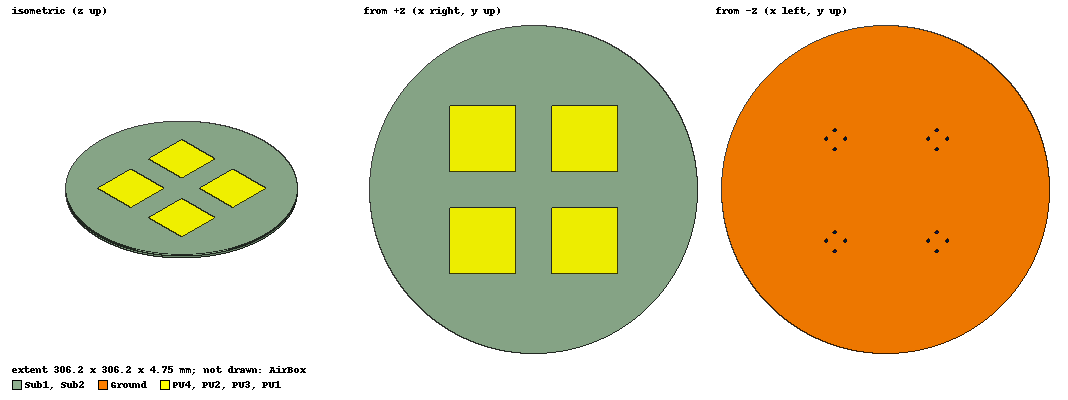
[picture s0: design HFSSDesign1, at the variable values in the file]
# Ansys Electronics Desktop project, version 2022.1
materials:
  vacuum: permittivity=1
  crpa_rt5880_2p2: permittivity=2.2 dielectric_loss_tangent=0.0009
  pec: conductivity=1e+30

design HFSSDesign1 (HFSS, DrivenModal, model units mm)
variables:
  h1 = 3.175mm
  h2 = 1.575mm
  Lalt = 77.89mm
  palt = 9.9485mm
  Lust = 62.361mm
  pust = 8.0296mm
  ra = 0.635mm
  rb = 2.3*ra
  rh = ra+1mm
  dsp = 95.1468mm
  rr = dsp/sqrt(2)
  gm = 30.5mm
  Rg = rr+0.71*Lalt+gm
  pad = 61mm
  X1 = rr*cos(45deg)
  Y1 = rr*sin(45deg)
  X2 = rr*cos(135deg)
  Y2 = rr*sin(135deg)
  X3 = rr*cos(225deg)
  Y3 = rr*sin(225deg)
  X4 = rr*cos(315deg)
  Y4 = rr*sin(315deg)
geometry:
  Ground = circle(normal=Z, centre=(0mm, 0mm, 0mm), radius=Rg)
  Sub1 [crpa_rt5880_2p2] = cylinder(axis=Z, base_centre=(0mm, 0mm, 0mm), radius=Rg, height=h1)
  Sub2 [crpa_rt5880_2p2] = cylinder(axis=Z, base_centre=(0mm, 0mm, h1), radius=Rg, height=h2)
  PA1 = rectangle(corner=(X1-Lalt/2, Y1-Lalt/2, h1), x_size=Lalt, y_size=Lalt)
  PA2 = rectangle(corner=(X2-Lalt/2, Y2-Lalt/2, h1), x_size=Lalt, y_size=Lalt)
  PA3 = rectangle(corner=(X3-Lalt/2, Y3-Lalt/2, h1), x_size=Lalt, y_size=Lalt)
  PA4 = rectangle(corner=(X4-Lalt/2, Y4-Lalt/2, h1), x_size=Lalt, y_size=Lalt)
  PU1 = rectangle(corner=(X1-Lust/2, Y1-Lust/2, h1+h2), x_size=Lust, y_size=Lust)
  PU2 = rectangle(corner=(X2-Lust/2, Y2-Lust/2, h1+h2), x_size=Lust, y_size=Lust)
  PU3 = rectangle(corner=(X3-Lust/2, Y3-Lust/2, h1+h2), x_size=Lust, y_size=Lust)
  PU4 = rectangle(corner=(X4-Lust/2, Y4-Lust/2, h1+h2), x_size=Lust, y_size=Lust)
  Pin_P1Ax [pec] = cylinder(axis=Z, base_centre=(X1-palt, Y1, 0mm), radius=ra, height=h1)
  Pin_P1Ay [pec] = cylinder(axis=Z, base_centre=(X1, Y1-palt, 0mm), radius=ra, height=h1)
  Pin_P1Ux [pec] = cylinder(axis=Z, base_centre=(X1+pust, Y1, 0mm), radius=ra, height=h1+h2)
  Pin_P1Uy [pec] = cylinder(axis=Z, base_centre=(X1, Y1+pust, 0mm), radius=ra, height=h1+h2)
  Pin_P2Ax [pec] = cylinder(axis=Z, base_centre=(X2-palt, Y2, 0mm), radius=ra, height=h1)
  Pin_P2Ay [pec] = cylinder(axis=Z, base_centre=(X2, Y2-palt, 0mm), radius=ra, height=h1)
  Pin_P2Ux [pec] = cylinder(axis=Z, base_centre=(X2+pust, Y2, 0mm), radius=ra, height=h1+h2)
  Pin_P2Uy [pec] = cylinder(axis=Z, base_centre=(X2, Y2+pust, 0mm), radius=ra, height=h1+h2)
  Pin_P3Ax [pec] = cylinder(axis=Z, base_centre=(X3-palt, Y3, 0mm), radius=ra, height=h1)
  Pin_P3Ay [pec] = cylinder(axis=Z, base_centre=(X3, Y3-palt, 0mm), radius=ra, height=h1)
  Pin_P3Ux [pec] = cylinder(axis=Z, base_centre=(X3+pust, Y3, 0mm), radius=ra, height=h1+h2)
  Pin_P3Uy [pec] = cylinder(axis=Z, base_centre=(X3, Y3+pust, 0mm), radius=ra, height=h1+h2)
  Pin_P4Ax [pec] = cylinder(axis=Z, base_centre=(X4-palt, Y4, 0mm), radius=ra, height=h1)
  Pin_P4Ay [pec] = cylinder(axis=Z, base_centre=(X4, Y4-palt, 0mm), radius=ra, height=h1)
  Pin_P4Ux [pec] = cylinder(axis=Z, base_centre=(X4+pust, Y4, 0mm), radius=ra, height=h1+h2)
  Pin_P4Uy [pec] = cylinder(axis=Z, base_centre=(X4, Y4+pust, 0mm), radius=ra, height=h1+h2)
  Ring_P1Ax = circle(normal=Z, centre=(X1-palt, Y1, 0mm), radius=rb)
  Cut_P1Ax = circle(normal=Z, centre=(X1-palt, Y1, 0mm), radius=ra)
  Ring_P1Ay = circle(normal=Z, centre=(X1, Y1-palt, 0mm), radius=rb)
  Cut_P1Ay = circle(normal=Z, centre=(X1, Y1-palt, 0mm), radius=ra)
  Ring_P1Ux = circle(normal=Z, centre=(X1+pust, Y1, 0mm), radius=rb)
  Cut_P1Ux = circle(normal=Z, centre=(X1+pust, Y1, 0mm), radius=ra)
  Ring_P1Uy = circle(normal=Z, centre=(X1, Y1+pust, 0mm), radius=rb)
  Cut_P1Uy = circle(normal=Z, centre=(X1, Y1+pust, 0mm), radius=ra)
  Ring_P2Ax = circle(normal=Z, centre=(X2-palt, Y2, 0mm), radius=rb)
  Cut_P2Ax = circle(normal=Z, centre=(X2-palt, Y2, 0mm), radius=ra)
  Ring_P2Ay = circle(normal=Z, centre=(X2, Y2-palt, 0mm), radius=rb)
  Cut_P2Ay = circle(normal=Z, centre=(X2, Y2-palt, 0mm), radius=ra)
  Ring_P2Ux = circle(normal=Z, centre=(X2+pust, Y2, 0mm), radius=rb)
  Cut_P2Ux = circle(normal=Z, centre=(X2+pust, Y2, 0mm), radius=ra)
  Ring_P2Uy = circle(normal=Z, centre=(X2, Y2+pust, 0mm), radius=rb)
  Cut_P2Uy = circle(normal=Z, centre=(X2, Y2+pust, 0mm), radius=ra)
  Ring_P3Ax = circle(normal=Z, centre=(X3-palt, Y3, 0mm), radius=rb)
  Cut_P3Ax = circle(normal=Z, centre=(X3-palt, Y3, 0mm), radius=ra)
  Ring_P3Ay = circle(normal=Z, centre=(X3, Y3-palt, 0mm), radius=rb)
  Cut_P3Ay = circle(normal=Z, centre=(X3, Y3-palt, 0mm), radius=ra)
  Ring_P3Ux = circle(normal=Z, centre=(X3+pust, Y3, 0mm), radius=rb)
  Cut_P3Ux = circle(normal=Z, centre=(X3+pust, Y3, 0mm), radius=ra)
  Ring_P3Uy = circle(normal=Z, centre=(X3, Y3+pust, 0mm), radius=rb)
  Cut_P3Uy = circle(normal=Z, centre=(X3, Y3+pust, 0mm), radius=ra)
  Ring_P4Ax = circle(normal=Z, centre=(X4-palt, Y4, 0mm), radius=rb)
  Cut_P4Ax = circle(normal=Z, centre=(X4-palt, Y4, 0mm), radius=ra)
  Ring_P4Ay = circle(normal=Z, centre=(X4, Y4-palt, 0mm), radius=rb)
  Ring_P4Ux = circle(normal=Z, centre=(X4+pust, Y4, 0mm), radius=rb)
  Cut_P4Ux = circle(normal=Z, centre=(X4+pust, Y4, 0mm), radius=ra)
  Ring_P4Uy = circle(normal=Z, centre=(X4, Y4+pust, 0mm), radius=rb)
  Cut_P4Uy = circle(normal=Z, centre=(X4, Y4+pust, 0mm), radius=ra)
  Cut_P4Ay = circle(normal=Z, centre=(X4, Y4-palt, 0mm), radius=ra)
  Hole_P1Ux = circle(normal=Z, centre=(X1+pust, Y1, h1), radius=rh)
  Hole_P1Uy = circle(normal=Z, centre=(X1, Y1+pust, h1), radius=rh)
  Hole_P2Ux = circle(normal=Z, centre=(X2+pust, Y2, h1), radius=rh)
  Hole_P2Uy = circle(normal=Z, centre=(X2, Y2+pust, h1), radius=rh)
  Hole_P3Ux = circle(normal=Z, centre=(X3+pust, Y3, h1), radius=rh)
  Hole_P3Uy = circle(normal=Z, centre=(X3, Y3+pust, h1), radius=rh)
  Hole_P4Ux = circle(normal=Z, centre=(X4+pust, Y4, h1), radius=rh)
  Hole_P4Uy = circle(normal=Z, centre=(X4, Y4+pust, h1), radius=rh)
  PA1.subtract(Hole_P1Ux, Hole_P1Uy)
  PA2.subtract(Hole_P2Ux, Hole_P2Uy)
  PA3.subtract(Hole_P3Ux, Hole_P3Uy)
  PA4.subtract(Hole_P4Ux, Hole_P4Uy)
  Ring_P1Ax_1 = Ring_P1Ax.copy()
  Ring_P1Ay_1 = Ring_P1Ay.copy()
  Ring_P1Ux_1 = Ring_P1Ux.copy()
  Ring_P1Uy_1 = Ring_P1Uy.copy()
  Ring_P2Ax_1 = Ring_P2Ax.copy()
  Ring_P2Ay_1 = Ring_P2Ay.copy()
  Ring_P2Ux_1 = Ring_P2Ux.copy()
  Ring_P2Uy_1 = Ring_P2Uy.copy()
  Ring_P3Ax_1 = Ring_P3Ax.copy()
  Ring_P3Ay_1 = Ring_P3Ay.copy()
  Ring_P3Ux_1 = Ring_P3Ux.copy()
  Ring_P3Uy_1 = Ring_P3Uy.copy()
  Ring_P4Ax_1 = Ring_P4Ax.copy()
  Ring_P4Ay_1 = Ring_P4Ay.copy()
  Ring_P4Ux_1 = Ring_P4Ux.copy()
  Ring_P4Uy_1 = Ring_P4Uy.copy()
  Ground.subtract(Ring_P1Ax_1, Ring_P1Ay_1, Ring_P1Ux_1, Ring_P1Uy_1, Ring_P2Ax_1, Ring_P2Ay_1, Ring_P2Ux_1, Ring_P2Uy_1, Ring_P3Ax_1, Ring_P3Ay_1, Ring_P3Ux_1, Ring_P3Uy_1, Ring_P4Ax_1, Ring_P4Ay_1, Ring_P4Ux_1, Ring_P4Uy_1)
  Ring_P1Ax.subtract(Cut_P1Ax)
  Ring_P1Ay.subtract(Cut_P1Ay)
  Ring_P1Ux.subtract(Cut_P1Ux)
  Ring_P1Uy.subtract(Cut_P1Uy)
  Ring_P2Ax.subtract(Cut_P2Ax)
  Ring_P2Ay.subtract(Cut_P2Ay)
  Ring_P2Ux.subtract(Cut_P2Ux)
  Ring_P2Uy.subtract(Cut_P2Uy)
  Ring_P3Ax.subtract(Cut_P3Ax)
  Ring_P3Ay.subtract(Cut_P3Ay)
  Ring_P3Ux.subtract(Cut_P3Ux)
  Ring_P3Uy.subtract(Cut_P3Uy)
  Ring_P4Ax.subtract(Cut_P4Ax)
  Ring_P4Ay.subtract(Cut_P4Ay)
  Ring_P4Ux.subtract(Cut_P4Ux)
  Ring_P4Uy.subtract(Cut_P4Uy)
  Pin_P1Ax_1 = Pin_P1Ax.copy()
  Pin_P1Ay_1 = Pin_P1Ay.copy()
  Pin_P1Ux_1 = Pin_P1Ux.copy()
  Pin_P1Uy_1 = Pin_P1Uy.copy()
  Pin_P2Ax_1 = Pin_P2Ax.copy()
  Pin_P2Ay_1 = Pin_P2Ay.copy()
  Pin_P2Ux_1 = Pin_P2Ux.copy()
  Pin_P2Uy_1 = Pin_P2Uy.copy()
  Pin_P3Ax_1 = Pin_P3Ax.copy()
  Pin_P3Ay_1 = Pin_P3Ay.copy()
  Pin_P3Ux_1 = Pin_P3Ux.copy()
  Pin_P3Uy_1 = Pin_P3Uy.copy()
  Pin_P4Ax_1 = Pin_P4Ax.copy()
  Pin_P4Ay_1 = Pin_P4Ay.copy()
  Pin_P4Ux_1 = Pin_P4Ux.copy()
  Pin_P4Uy_1 = Pin_P4Uy.copy()
  Sub1.subtract(Pin_P1Ax_1, Pin_P1Ay_1, Pin_P1Ux_1, Pin_P1Uy_1, Pin_P2Ax_1, Pin_P2Ay_1, Pin_P2Ux_1, Pin_P2Uy_1, Pin_P3Ax_1, Pin_P3Ay_1, Pin_P3Ux_1, Pin_P3Uy_1, Pin_P4Ax_1, Pin_P4Ay_1, Pin_P4Ux_1, Pin_P4Uy_1)
  Pin_P1Ux_2 = Pin_P1Ux.copy()
  Pin_P1Uy_2 = Pin_P1Uy.copy()
  Pin_P2Ux_2 = Pin_P2Ux.copy()
  Pin_P2Uy_2 = Pin_P2Uy.copy()
  Pin_P3Ux_2 = Pin_P3Ux.copy()
  Pin_P3Uy_2 = Pin_P3Uy.copy()
  Pin_P4Ux_2 = Pin_P4Ux.copy()
  Pin_P4Uy_2 = Pin_P4Uy.copy()
  Sub2.subtract(Pin_P1Ux_2, Pin_P1Uy_2, Pin_P2Ux_2, Pin_P2Uy_2, Pin_P3Ux_2, Pin_P3Uy_2, Pin_P4Ux_2, Pin_P4Uy_2)
  AirBox [vacuum] = box(corner=(-Rg-pad, -Rg-pad, -pad), size=(2*Rg+2*pad, 2*Rg+2*pad, h1+h2+2*pad))
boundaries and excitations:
  Rad1: Radiation Objects=AirBox
  PerfE1: Perfect E Objects=[Ground, PA1..PA4, PU1..PU4]
  P1Ax: Lumped Port Objects=Ring_P1Ax Modes{Mode1{IntLine{(39.0854, 47.5734, 0) -> (38.2599, 47.5734, 0)} CharImp=Zpi RenormImp=50ohm}} Impedance=50ohm
  P1Ay: Lumped Port Objects=Ring_P1Ay Modes{Mode1{IntLine{(49.0339, 37.6249, 0) -> (48.2084, 37.6249, 0)} CharImp=Zpi RenormImp=50ohm}} Impedance=50ohm
  P1Ux: Lumped Port Objects=Ring_P1Ux Modes{Mode1{IntLine{(57.0635, 47.5734, 0) -> (56.238, 47.5734, 0)} CharImp=Zpi RenormImp=50ohm}} Impedance=50ohm
  P1Uy: Lumped Port Objects=Ring_P1Uy Modes{Mode1{IntLine{(49.0339, 55.603, 0) -> (48.2084, 55.603, 0)} CharImp=Zpi RenormImp=50ohm}} Impedance=50ohm
  P2Ax: Lumped Port Objects=Ring_P2Ax Modes{Mode1{IntLine{(-56.0614, 47.5734, 0) -> (-56.8869, 47.5734, 0)} CharImp=Zpi RenormImp=50ohm}} Impedance=50ohm
  P2Ay: Lumped Port Objects=Ring_P2Ay Modes{Mode1{IntLine{(-46.1129, 37.6249, 0) -> (-46.9384, 37.6249, 0)} CharImp=Zpi RenormImp=50ohm}} Impedance=50ohm
  P2Ux: Lumped Port Objects=Ring_P2Ux Modes{Mode1{IntLine{(-38.0833, 47.5734, 0) -> (-38.9088, 47.5734, 0)} CharImp=Zpi RenormImp=50ohm}} Impedance=50ohm
  P2Uy: Lumped Port Objects=Ring_P2Uy Modes{Mode1{IntLine{(-46.1129, 55.603, 0) -> (-46.9384, 55.603, 0)} CharImp=Zpi RenormImp=50ohm}} Impedance=50ohm
  P3Ax: Lumped Port Objects=Ring_P3Ax Modes{Mode1{IntLine{(-56.0614, -47.5734, 0) -> (-56.8869, -47.5734, 0)} CharImp=Zpi RenormImp=50ohm}} Impedance=50ohm
  P3Ay: Lumped Port Objects=Ring_P3Ay Modes{Mode1{IntLine{(-46.1129, -57.5219, 0) -> (-46.9384, -57.5219, 0)} CharImp=Zpi RenormImp=50ohm}} Impedance=50ohm
  P3Ux: Lumped Port Objects=Ring_P3Ux Modes{Mode1{IntLine{(-38.0833, -47.5734, 0) -> (-38.9088, -47.5734, 0)} CharImp=Zpi RenormImp=50ohm}} Impedance=50ohm
  P3Uy: Lumped Port Objects=Ring_P3Uy Modes{Mode1{IntLine{(-46.1129, -39.5438, 0) -> (-46.9384, -39.5438, 0)} CharImp=Zpi RenormImp=50ohm}} Impedance=50ohm
  P4Ax: Lumped Port Objects=Ring_P4Ax Modes{Mode1{IntLine{(39.0854, -47.5734, 0) -> (38.2599, -47.5734, 0)} CharImp=Zpi RenormImp=50ohm}} Impedance=50ohm
  P4Ay: Lumped Port Objects=Ring_P4Ay Modes{Mode1{IntLine{(49.0339, -57.5219, 0) -> (48.2084, -57.5219, 0)} CharImp=Zpi RenormImp=50ohm}} Impedance=50ohm
  P4Ux: Lumped Port Objects=Ring_P4Ux Modes{Mode1{IntLine{(57.0635, -47.5734, 0) -> (56.238, -47.5734, 0)} CharImp=Zpi RenormImp=50ohm}} Impedance=50ohm
  P4Uy: Lumped Port Objects=Ring_P4Uy Modes{Mode1{IntLine{(49.0339, -39.5438, 0) -> (48.2084, -39.5438, 0)} CharImp=Zpi RenormImp=50ohm}} Impedance=50ohm
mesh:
  Len_Sub: LengthBased RefineInside Objects=[Sub1, Sub2] MaxLength=13mm
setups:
  Setup_alt: HfssDriven Frequency=1.228GHz MaxDeltaS=0.02 MaximumPasses=20 MinimumPasses=1 MinimumConvergedPasses=1 PercentRefinement=30 BasisOrder=1 PortAccuracy=2 DrivenSolverType="Direct Solver"
    sweep Sweep_alt: 1GHz to 3GHz, 301 points; Type=Interpolating InterpTolerance=0.5 InterpMaxSolns=250 InterpUsePortImped=false PassivityErrorTolerance=0.0001
  Setup_ust: HfssDriven Frequency=1.575GHz MaxDeltaS=0.02 MaximumPasses=20 MinimumPasses=1 MinimumConvergedPasses=2 PercentRefinement=30 BasisOrder=1 PortAccuracy=2 DrivenSolverType="Direct Solver"
    sweep Sweep_ust: 1GHz to 3GHz, 301 points; Type=Interpolating InterpTolerance=0.5 InterpMaxSolns=250 InterpUsePortImped=false PassivityErrorTolerance=0.0001
  Setup1_hepsi: HfssDriven MultipleAdaptiveFreqsSetup{AdaptAt{Frequency=1.228GHz Delta=0.02} AdaptAt{Frequency=1.575GHz Delta=0.02}} MaximumPasses=20 MinimumPasses=1 MinimumConvergedPasses=1 PercentRefinement=30 BasisOrder=1 PortAccuracy=2 DrivenSolverType="Direct Solver"
    sweep Sweep: 1GHz to 3GHz, 401 points; Type=Interpolating InterpTolerance=0.5 InterpMaxSolns=250 InterpUsePortImped=false PassivityErrorTolerance=0.0001
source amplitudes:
  P1Ax:1: 1W 0deg
  P1Ay:1, P1Ux:1, P1Uy:1, P2Ax:1, P2Ay:1, P2Ux:1, P2Uy:1, P3Ax:1, P3Ay:1, P3Ux:1, P3Uy:1, P4Ax:1, P4Ay:1, P4Ux:1, P4Uy:1: 0W 0deg
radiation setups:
  Hemisphere: Infinite Sphere Theta=0deg..90deg step 2deg Phi=0deg..360deg step 5deg
  Cuts: Infinite Sphere Theta=-180deg..180deg step 1deg Phi=0deg..90deg step 90deg
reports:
  S Parameter Plot 1: dB(S(P1Ax,P1Ax)), dB(S(P1Ay,P1Ay)) vs Freq on Setup_alt : Sweep_alt [Lalt=all Lust=all]
  S Parameter Plot 2: dB(S(P1Ux,P1Ux)), dB(S(P1Uy,P1Uy)) vs Freq on Setup_ust : Sweep_ust [Lalt=all Lust=all]; markers m1 at 1.5733333GHz, m2 at 1.1933333GHz
  S Parameter Plot 3: dB(S(P1Ax,P1Ax)), dB(S(P1Ay,P1Ay)), dB(S(P1Ux,P1Ux)), dB(S(P1Uy,P1Uy)) vs Freq on Setup_alt : Sweep_alt [Lalt=all Lust=all]
